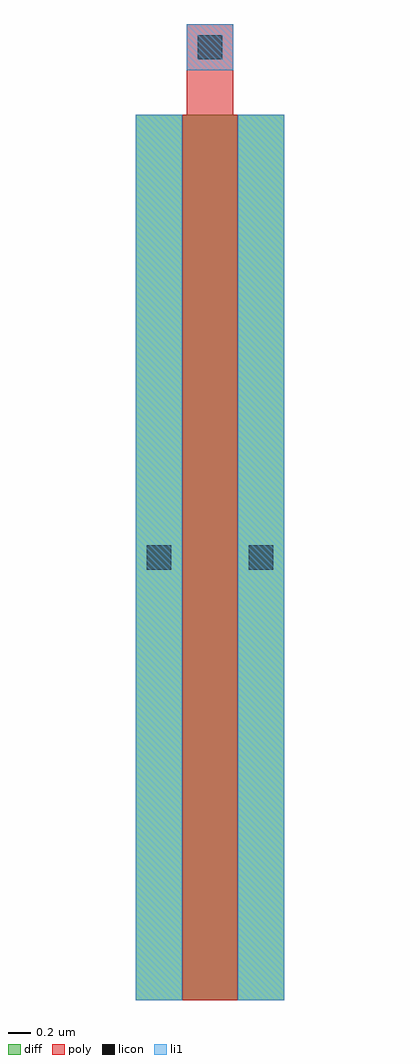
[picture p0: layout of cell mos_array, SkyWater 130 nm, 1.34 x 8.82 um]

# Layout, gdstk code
import gdstk
lib = gdstk.Library(unit=1e-6, precision=1e-09)
def R(c, l, rs):  # rectangles x0, y0, x1, y1
    for r in rs: c.add(gdstk.rectangle(r[:2], r[2:], *l))
diff = (65, 20)
poly = (66, 20)
licon = (66, 44)
li1 = (67, 20)

mos_array = lib.new_cell('mos_array')
R(mos_array, diff, [(0,0,1.34,8)])
R(mos_array, poly, [(0.42,0,0.92,8), (0.46,8,0.88,8.82)])
R(mos_array, licon, [(0.1,3.89,0.32,4.11), (1.02,3.89,1.24,4.11), (0.56,8.5,0.78,8.72)])
R(mos_array, li1, [(0,0,0.42,8), (0.92,0,1.34,8), (0.46,8.4,0.88,8.82)])

lib.write_gds('mos_array.gds')
